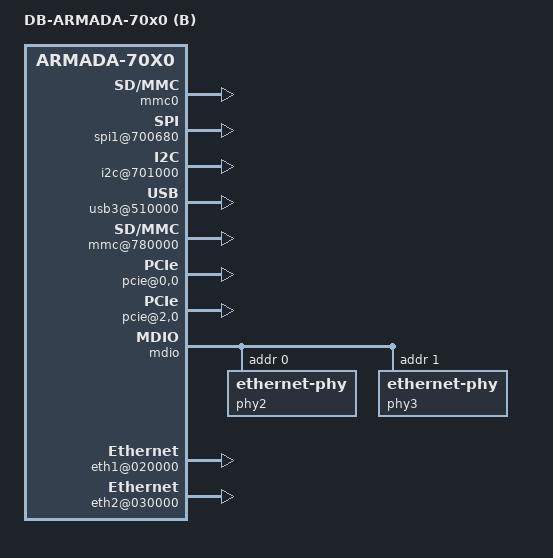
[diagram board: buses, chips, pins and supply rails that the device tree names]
/*
 * ***************************************************************************
 * Copyright (C) 2015 Marvell International Ltd.
 * ***************************************************************************
 * This program is free software: you can redistribute it and/or modify it
 * under the terms of the GNU General Public License as published by the Free
 * Software Foundation, either version 2 of the License, or any later version.
 *
 * This program is distributed in the hope that it will be useful,
 * but WITHOUT ANY WARRANTY; without even the implied warranty of
 * MERCHANTABILITY or FITNESS FOR A PARTICULAR PURPOSE.  See the
 * GNU General Public License for more details.
 *
 * You should have received a copy of the GNU General Public License
 * along with this program.  If not, see <http://www.gnu.org/licenses/>.
 * ***************************************************************************
 */

/dts-v1/;

#include "armada-70x0-db.dtsi" /* include SoC device tree */

/ {
	model = "DB-ARMADA-70x0 (B)";
	compatible = "marvell,armada-70x0-db", "marvell,armada-70x0";
	fdt_config_id = <A70X0_B>;
	board_id = <A8K_7040_DB>;

	ap-806 {
		internal-regs {
			spi0: spi@510600 {
				status = "disabled";
			};
			i2c0: i2c@511000 {
				status = "disabled";
			};
			pinctl: pinctl@6F4000 {
					/* MPP Bus:
						SDIO  [0-5]
						UART0 [11,19]
					*/
					  /* 0 1 2 3 4 5 6 7 8 9 */
				pin-func = < 1 1 1 1 1 1 0 0 0 0
					     0 3 0 0 0 0 0 0 0 3 >;
			};
			mmc0: mmc@6E0000 {
				status = "okay";
			};
		};
	};
	cp110-master {
		internal-regs {
			spi0@700600 {
				status = "disabled";
			};
			spi1@700680 {
				status = "okay";
			};
			i2c@701000 {
				status = "okay";
			};
			i2c@211000 { /* MSS_i2c0 */
				status = "disabled";
			};
			i2c@211100 { /* MSS_i2c1 */
				status = "disabled";
			};
			utmi0@580000 {
				utmi-port = <UTMI_PHY_TO_USB3_HOST0>;
			};
			utmi1@581000 {
				utmi-port = <UTMI_PHY_TO_USB3_HOST1>;
			};
			usb3@500000 {
				status = "disabled";
			};
			usb3@510000 {
				status = "okay";
			};
			sata@540000 {
				status = "disabled";
			};
			mmc@780000 {
				status = "okay";
			};
			pcie-controller {
				pcie@0,0 {
					status = "okay";
				};
				pcie@1,0 {
					status = "disabled";
				};
				pcie@2,0 {
					status = "okay";
				};
			};
			nand@720000 {
				status = "disabled";
			};

			pinctl@440000 {
					/* MPP Bus:
					   RGMII1  [0-11]
					   SS_PWDN [12]
					   SPI1    [13-16]
					   SATA1   [28]
					   UART0   [29-30]
					   MSS_VTT_EN [31]
					   SMI	   [32,34]
					   XSMI    [35-36]
					   I2C	   [37-38]
					   RGMII2  [44-55]
					   SD	   [56-61]
					   GPIO    [62]
					*/
					/*   0   1   2   3   4   5   6   7   8   9 */
			pin-func = < 3   3   3   3   3   3   3   3   3   3
					     3   3   0   3   3   3   3   0   0   0
					     0   0   0   0   0   0   0   0   9   0xA
					     0xA 0   7   0   7   7   7   2   2   0
					     0   0   0   0   1   1   1   1   1   1
					     1   1   1   1   1   1   0xE 0xE 0xE 0xE
					     0xE 0xE 0>;
			};

			comphy {
				/* Serdes Configuration:
					Lane 0: PCIe0 (x4)
					Lane 1: PCIe0 (x4)
					Lane 2: PCIe0 (x4)
					Lane 3: PCIe0 (x4)
					Lane 4: USB3-HOST1
					Lane 5: PCIe2 (x1)
				*/

				phy0 {
					phy-type = <PHY_TYPE_PEX0>;
				};
				phy1 {
					phy-type = <PHY_TYPE_PEX0>;
				};
				phy2 {
					phy-type = <PHY_TYPE_PEX0>;
				};
				phy3 {
					phy-type = <PHY_TYPE_PEX0>;
				};
				phy4 {
					phy-type = <PHY_TYPE_USB3_HOST1>;
				};
				phy5 {
					phy-type = <PHY_TYPE_PEX2>;
				};
			};
			mdio {
				#address-cells = <1>;
				#size-cells = <0>;
				phy2: ethernet-phy@2 {
					reg = <0>;
				};
				phy3: ethernet-phy@3 {
					reg = <1>;
				};
			};
			gop {
				mac0 {
					phy-mode = "none";
				};
				mac2 {
					phy-mode = "rgmii"; /*rgmii1*/
					phy = <&phy2>;
				};
				mac3 {
					phy-mode = "rgmii"; /*rgmii2*/
					phy = <&phy3>;
				};
			};
			ppv22@000000 {
				eth0@010000 {
					status = "disabled";
				};
				eth1@020000 {
					status = "okay";
				};
				eth2@030000 {
					status = "okay";
				};
			};
		};
	};
};
